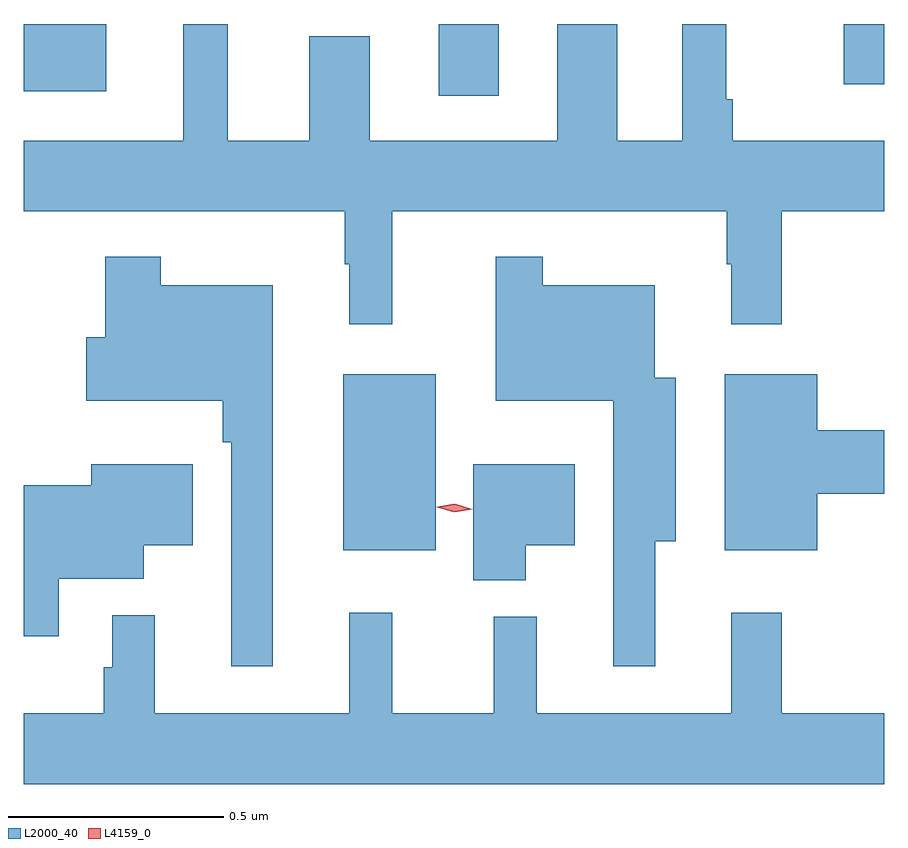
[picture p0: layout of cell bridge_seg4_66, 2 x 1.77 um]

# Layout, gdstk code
import gdstk
lib = gdstk.Library(unit=1e-6, precision=1e-09)
def R(c, l, rs):  # rectangles x0, y0, x1, y1
    for r in rs: c.add(gdstk.rectangle(r[:2], r[2:], *l))
def P(c, l, *ps):  # polygons
    for p in ps: c.add(gdstk.Polygon(p, *l))
L2000_40 = (2000, 40)
L4159_0 = (4159, 0)

bridge_seg4_66 = lib.new_cell('bridge_seg4_66')
R(bridge_seg4_66, L2000_40, [(726.269,830.663,726.484,831.073), (726.491,831.72,726.631,831.887), (725.527,831.731,725.719,831.887), (727.433,831.747,727.527,831.887)])
P(bridge_seg4_66, L2000_40, [(726.384,831.452),(727.161,831.452),(727.161,831.329),(727.172,831.329),(727.172,831.189),(727.289,831.189),(727.289,831.452),(727.527,831.452),(727.527,831.616),(727.175,831.616),(727.175,831.712),(727.16,831.712),(727.16,831.887),(727.058,831.887),(727.058,831.616),(726.907,831.616),(726.907,831.887),(726.767,831.887),(726.767,831.616),(726.331,831.616),(726.331,831.859),(726.191,831.859),(726.191,831.616),(726.001,831.616),(726.001,831.887),(725.897,831.887),(725.897,831.616),(725.527,831.616),(725.527,831.452),(726.273,831.452),(726.273,831.329),(726.284,831.329),(726.284,831.189),(726.384,831.189)],
  [(726.106,831.28),(725.845,831.28),(725.845,831.346),(725.716,831.346),(725.716,831.159),(725.672,831.159),(725.672,831.011),(725.989,831.011),(725.989,830.915),(726.009,830.915),(726.009,830.394),(726.106,830.394)],
  [(726.995,830.684),(727.042,830.684),(727.042,831.064),(726.994,831.064),(726.994,831.28),(726.733,831.28),(726.733,831.346),(726.624,831.346),(726.624,831.011),(726.897,831.011),(726.897,830.394),(726.995,830.394)],
  [(727.372,830.795),(727.527,830.795),(727.527,830.942),(727.372,830.942),(727.372,831.073),(727.157,831.073),(727.157,830.663),(727.372,830.663)],
  [(726.694,830.675),(726.808,830.675),(726.808,830.863),(726.572,830.863),(726.572,830.594),(726.694,830.594)],
  [(725.608,830.597),(725.806,830.597),(725.806,830.675),(725.92,830.675),(725.92,830.863),(725.684,830.863),(725.684,830.815),(725.527,830.815),(725.527,830.463),(725.608,830.463)],
  [(727.527,830.284),(727.289,830.284),(727.289,830.518),(727.172,830.518),(727.172,830.284),(726.719,830.284),(726.719,830.509),(726.619,830.509),(726.619,830.284),(726.384,830.284),(726.384,830.518),(726.284,830.518),(726.284,830.284),(725.831,830.284),(725.831,830.512),(725.733,830.512),(725.733,830.391),(725.713,830.391),(725.713,830.284),(725.527,830.284),(725.527,830.12),(727.527,830.12)])
P(bridge_seg4_66, L4159_0, [(726.528,830.752),(726.488,830.764),(726.488,830.764),(726.488,830.765),(726.529,830.772),(726.569,830.759),(726.569,830.759),(726.569,830.759)])

lib.write_gds('bridge_seg4_66.gds')
